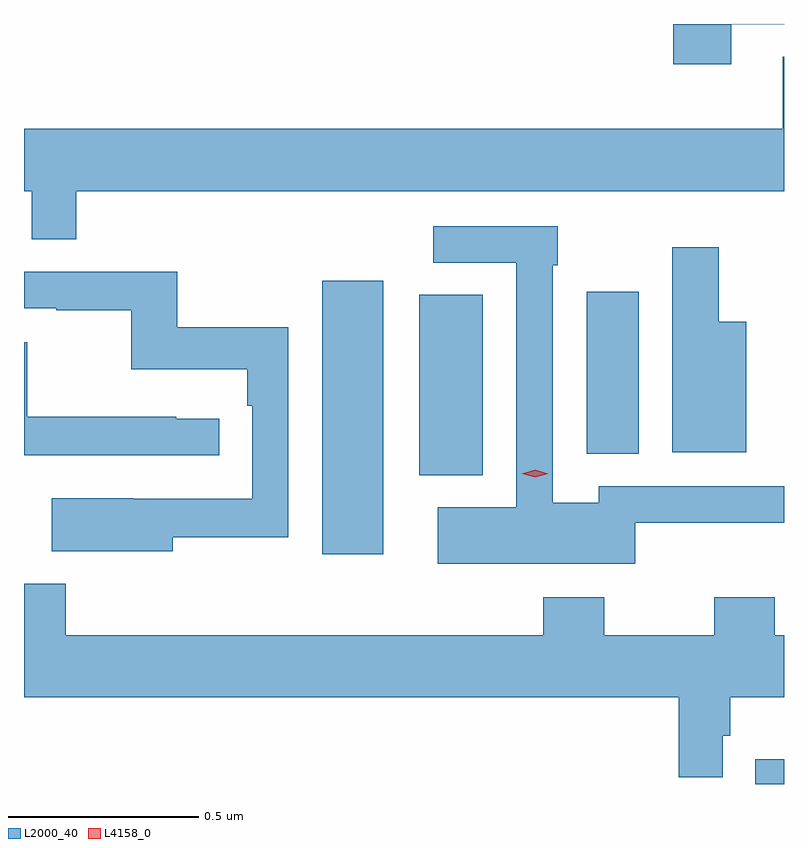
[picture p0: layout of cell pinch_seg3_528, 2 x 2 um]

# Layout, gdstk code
import gdstk
lib = gdstk.Library(unit=1e-6, precision=1e-09)
def R(c, l, rs):  # rectangles x0, y0, x1, y1
    for r in rs: c.add(gdstk.rectangle(r[:2], r[2:], *l))
def P(c, l, *ps):  # polygons
    for p in ps: c.add(gdstk.Polygon(p, *l))
L2000_40 = (2000, 40)
L4158_0 = (4158, 0)

pinch_seg3_528 = lib.new_cell('pinch_seg3_528')
R(pinch_seg3_528, L2000_40, [(983.428,670.052,983.504,670.117), (982.289,670.656,982.45,671.377), (982.544,670.865,982.711,671.339), (982.985,670.921,983.122,671.347)])
P(pinch_seg3_528, L2000_40, [(983.365,672.051),(983.504,672.051),(983.504,672.052),(983.213,672.052),(983.213,671.946),(983.365,671.946)],
  [(981.641,671.612),(983.504,671.612),(983.504,671.966),(983.501,671.966),(983.501,671.776),(981.504,671.776),(981.504,671.612),(981.525,671.612),(981.525,671.485),(981.641,671.485)],
  [(983.112,670.739),(983.504,670.739),(983.504,670.836),(983.016,670.836),(983.016,670.792),(982.896,670.792),(982.896,671.417),(982.909,671.417),(982.909,671.52),(982.581,671.52),(982.581,671.424),(982.8,671.424),(982.8,670.78),(982.593,670.78),(982.593,670.631),(983.112,670.631)],
  [(983.404,671.269),(983.332,671.269),(983.332,671.464),(983.21,671.464),(983.21,670.925),(983.404,670.925)],
  [(981.895,670.702),(982.2,670.702),(982.2,671.254),(981.907,671.254),(981.907,671.4),(981.504,671.4),(981.504,671.304),(981.589,671.304),(981.589,671.299),(981.786,671.299),(981.786,671.144),(982.091,671.144),(982.091,671.048),(982.104,671.048),(982.104,670.803),(981.791,670.803),(981.791,670.804),(981.577,670.804),(981.577,670.664),(981.895,670.664)],
  [(982.018,671.013),(981.905,671.013),(981.905,671.018),(981.512,671.018),(981.512,671.214),(981.504,671.214),(981.504,670.917),(982.018,670.917)],
  [(983.343,670.179),(983.363,670.179),(983.363,670.28),(983.504,670.28),(983.504,670.444),(983.48,670.444),(983.48,670.543),(983.32,670.543),(983.32,670.444),(983.031,670.444),(983.031,670.543),(982.871,670.543),(982.871,670.444),(981.614,670.444),(981.614,670.579),(981.504,670.579),(981.504,670.28),(983.227,670.28),(983.227,670.07),(983.343,670.07)])
P(pinch_seg3_528, L4158_0, [(982.849,670.859),(982.814,670.869),(982.814,670.869),(982.814,670.869),(982.849,670.879),(982.883,670.869),(982.884,670.869),(982.883,670.869)])

lib.write_gds('pinch_seg3_528.gds')
